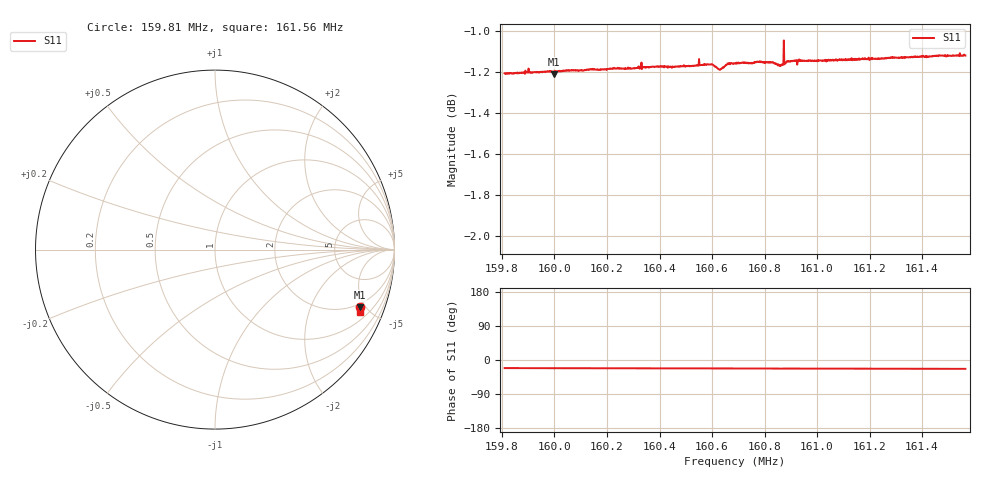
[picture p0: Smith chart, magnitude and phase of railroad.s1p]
! Calibrated averaged scanner-service zoom
# Hz S RI R 50
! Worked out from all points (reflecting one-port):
!   1001 points, 159.81 MHz to 161.56 MHz, reference 50 ohm
!   lowest |S11| = -1.2 dB at 160 MHz (marker M1), VSWR 14.36, Z = 86.5 - j229 ohm
!   phase of S11 starts at -21 deg and turns -2 deg over the sweep
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1.5981e8  0.8102 -0.3175
1.598978e8  0.8101 -0.3191
1.599995e8  0.8079 -0.3222
1.600294e8  0.8099 -0.3211
1.602488e8  0.81 -0.3252
1.602979e8  0.8094 -0.3262
1.603225e8  0.8098 -0.3267
1.604067e8  0.8096 -0.3277
1.604681e8  0.8093 -0.329
1.605173e8  0.8093 -0.3294
1.605945e8  0.8096 -0.3307
1.606296e8  0.8079 -0.328
1.606366e8  0.8083 -0.3289
1.606612e8  0.8093 -0.3319
1.606875e8  0.8095 -0.3324
1.607472e8  0.8092 -0.3334
1.607805e8  0.8098 -0.3343
1.608244e8  0.8092 -0.3349
1.608595e8  0.8063 -0.3376
1.60863e8  0.8066 -0.3373
1.608648e8  0.8069 -0.3374
1.608823e8  0.8082 -0.3365
1.608841e8  0.8084 -0.3366
1.609069e8  0.8089 -0.3368
1.611262e8  0.8081 -0.3402
1.613456e8  0.8078 -0.3443
1.61472e8  0.8076 -0.3468
1.61565e8  0.807 -0.3483
